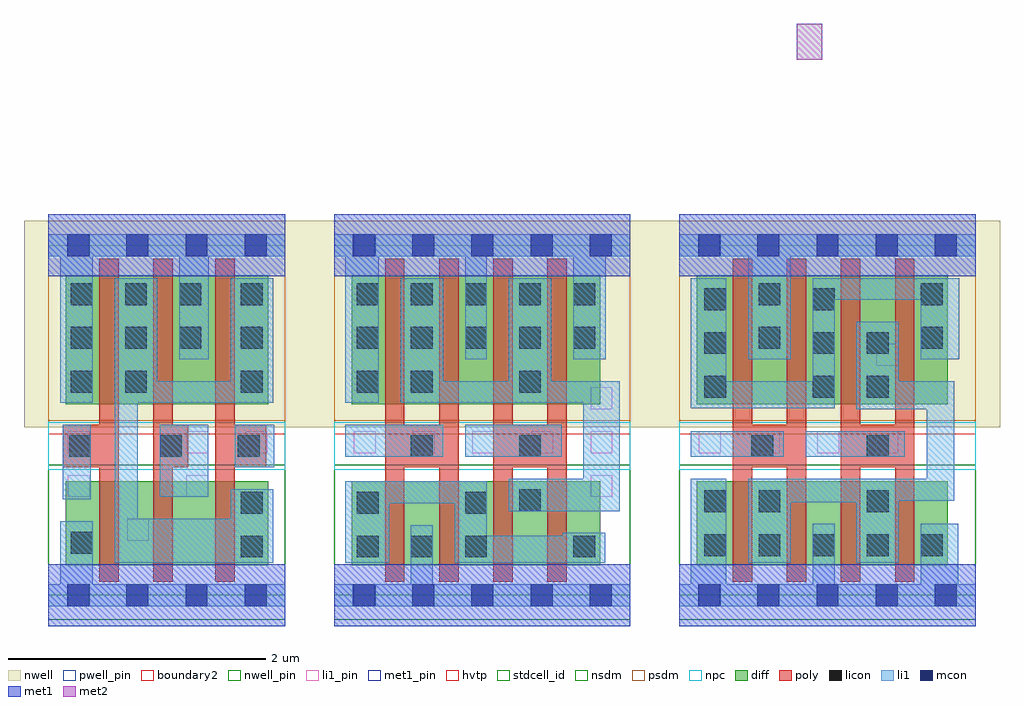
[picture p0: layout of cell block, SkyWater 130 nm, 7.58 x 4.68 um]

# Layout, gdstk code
import gdstk
lib = gdstk.Library(unit=1e-6, precision=1e-09)
def R(c, l, rs):  # rectangles x0, y0, x1, y1
    for r in rs: c.add(gdstk.rectangle(r[:2], r[2:], *l))
def A(c, l, x, y, w, h, nx, ny, dx, dy):  # array of equal rectangles
    R(c, l, [(x+i*dx, y+j*dy, x+i*dx+w, y+j*dy+h) for i in range(nx) for j in range(ny)])
def P(c, l, *ps):  # polygons
    for p in ps: c.add(gdstk.Polygon(p, *l))
nwell_pin = (64, 16)
nwell = (64, 20)
diff = (65, 20)
poly = (66, 20)
licon = (66, 44)
li1_pin = (67, 16)
li1 = (67, 20)
mcon = (67, 44)
met1_pin = (68, 16)
met1 = (68, 20)
met2 = (69, 20)
hvtp = (78, 44)
stdcell_id = (81, 4)
nsdm = (93, 44)
psdm = (94, 20)
npc = (95, 20)
pwell_pin = (122, 16)
boundary2 = (236, 0)

sky130_fd_sc_hd__nand3_1 = lib.new_cell('sky130_fd_sc_hd__nand3_1')
R(sky130_fd_sc_hd__nand3_1, nwell_pin, [(0.15,2.635,0.32,2.805)])
R(sky130_fd_sc_hd__nand3_1, nwell, [(-0.19,1.305,2.03,2.91)])
R(sky130_fd_sc_hd__nand3_1, diff, [(0.135,0.235,1.705,0.885), (0.135,1.485,1.705,2.485)])
P(sky130_fd_sc_hd__nand3_1, poly, [(1.295,0.105),(1.295,2.615),(1.445,2.615),(1.445,1.325),(1.69,1.325),(1.69,0.995),(1.445,0.995),(1.445,0.105)],
  [(0.815,0.105),(0.815,2.615),(0.965,2.615),(0.965,1.325),(1.085,1.325),(1.085,0.995),(0.965,0.995),(0.965,0.105)],
  [(0.395,0.105),(0.395,0.995),(0.11,0.995),(0.11,1.325),(0.395,1.325),(0.395,2.615),(0.545,2.615),(0.545,0.105)])
A(sky130_fd_sc_hd__nand3_1, licon, 1.495, 1.575, 0.17, 0.17, 1, 3, 0, 0.34)
A(sky130_fd_sc_hd__nand3_1, licon, 0.175, 1.915, 0.17, 0.17, 3, 2, 0.42, 0.34)
R(sky130_fd_sc_hd__nand3_1, licon, [(1.495,0.295,1.665,0.465), (0.175,0.325,0.345,0.495), (1.495,0.635,1.665,0.805), (0.16,1.075,0.33,1.245), (0.865,1.075,1.035,1.245), (1.47,1.075,1.64,1.245), (0.175,1.575,0.345,1.745), (0.595,1.575,0.765,1.745)])
R(sky130_fd_sc_hd__nand3_1, li1_pin, [(0.61,0.425,0.78,0.595), (0.15,0.765,0.32,0.935), (1.07,0.765,1.24,0.935), (0.15,1.105,0.32,1.275), (1.07,1.105,1.24,1.275), (1.53,1.105,1.7,1.275)])
R(sky130_fd_sc_hd__nand3_1, li1, [(0.11,0.745,0.33,1.325), (0.865,0.765,1.24,1.325), (1.445,0.995,1.755,1.325)])
P(sky130_fd_sc_hd__nand3_1, li1, [(0.09,1.495),(0.09,2.635),(0,2.635),(0,2.805),(1.84,2.805),(1.84,2.635),(1.245,2.635),(1.245,1.835),(1.015,1.835),(1.015,2.635),(0.345,2.635),(0.345,1.495)],
  [(0,-0.085),(0,0.085),(0.09,0.085),(0.09,0.575),(0.345,0.575),(0.345,0.085),(1.84,0.085),(1.84,-0.085)],
  [(0.515,0.255),(0.515,2.465),(0.845,2.465),(0.845,1.665),(1.415,1.665),(1.415,2.465),(1.745,2.465),(1.745,1.495),(0.695,1.495),(0.695,0.595),(1.415,0.595),(1.415,0.825),(1.745,0.825),(1.745,0.255)])
A(sky130_fd_sc_hd__nand3_1, mcon, 0.145, -0.085, 0.17, 0.17, 4, 2, 0.46, 2.72)
R(sky130_fd_sc_hd__nand3_1, met1_pin, [(0.15,-0.085,0.32,0.085), (0.15,2.635,0.32,2.805)])
R(sky130_fd_sc_hd__nand3_1, hvtp, [(0,1.25,1.84,2.72)])
R(sky130_fd_sc_hd__nand3_1, stdcell_id, [(0,0,1.84,2.72)])
R(sky130_fd_sc_hd__nand3_1, nsdm, [(0,-0.19,1.84,1.015)])
R(sky130_fd_sc_hd__nand3_1, psdm, [(0,1.355,1.84,2.91)])
R(sky130_fd_sc_hd__nand3_1, npc, [(0,0.975,1.84,1.345)])
R(sky130_fd_sc_hd__nand3_1, pwell_pin, [(0.15,-0.085,0.32,0.085)])
R(sky130_fd_sc_hd__nand3_1, boundary2, [(0,0,1.84,2.72)])
sky130_fd_sc_hd__nand3_1.add(gdstk.FlexPath([(0,2.72),(1.84,2.72)], 0.48, ends="flush", simple_path=True, layer=68, datatype=20))  # met1
sky130_fd_sc_hd__nand3_1.add(gdstk.FlexPath([(0,0),(1.84,0)], 0.48, ends="flush", simple_path=True, layer=68, datatype=20))  # met1
sky130_fd_sc_hd__nand3_1.add(gdstk.Label('Y', (0.695,0.51), layer=67, texttype=5))
sky130_fd_sc_hd__nand3_1.add(gdstk.Label('A', (1.615,1.19), layer=67, texttype=5))
sky130_fd_sc_hd__nand3_1.add(gdstk.Label('C', (0.235,1.19), layer=67, texttype=5))
sky130_fd_sc_hd__nand3_1.add(gdstk.Label('B', (1.155,1.19), layer=67, texttype=5))
sky130_fd_sc_hd__nand3_1.add(gdstk.Label('VPB', (0.235,2.72), layer=64, texttype=5))
sky130_fd_sc_hd__nand3_1.add(gdstk.Label('VNB', (0.235,0), layer=64, texttype=59))
sky130_fd_sc_hd__nand3_1.add(gdstk.Label('VGND', (0.235,0), layer=68, texttype=5))
sky130_fd_sc_hd__nand3_1.add(gdstk.Label('VPWR', (0.235,2.72), layer=68, texttype=5))
sky130_fd_sc_hd__nand3_1.add(gdstk.Label('nand3_1', (0,0), layer=83, texttype=44))

sky130_fd_sc_hd__nand2_2 = lib.new_cell('sky130_fd_sc_hd__nand2_2')
R(sky130_fd_sc_hd__nand2_2, nwell_pin, [(0.15,2.635,0.32,2.805)])
R(sky130_fd_sc_hd__nand2_2, nwell, [(-0.19,1.305,2.49,2.91)])
R(sky130_fd_sc_hd__nand2_2, diff, [(0.135,0.235,2.065,0.885), (0.135,1.485,2.065,2.485)])
P(sky130_fd_sc_hd__nand2_2, poly, [(1.235,0.105),(1.235,2.615),(1.385,2.615),(1.385,1.325),(1.655,1.325),(1.655,2.615),(1.805,2.615),(1.805,0.105),(1.655,0.105),(1.655,0.995),(1.385,0.995),(1.385,0.105)],
  [(0.395,0.105),(0.395,2.615),(0.545,2.615),(0.545,1.325),(0.815,1.325),(0.815,2.615),(0.965,2.615),(0.965,0.105),(0.815,0.105),(0.815,0.995),(0.545,0.995),(0.545,0.105)])
A(sky130_fd_sc_hd__nand2_2, licon, 0.175, 0.295, 0.17, 0.17, 3, 1, 0.42, 0)
A(sky130_fd_sc_hd__nand2_2, licon, 0.175, 1.915, 0.17, 0.17, 5, 2, 0.42, 0.34)
R(sky130_fd_sc_hd__nand2_2, licon, [(1.855,0.295,2.025,0.465), (0.175,0.635,0.345,0.805), (1.015,0.635,1.185,0.805), (1.435,0.655,1.605,0.825), (0.595,1.075,0.765,1.245), (1.435,1.075,1.605,1.245), (0.175,1.575,0.345,1.745), (0.595,1.575,0.765,1.745), (1.435,1.575,1.605,1.745)])
A(sky130_fd_sc_hd__nand2_2, li1_pin, 0.15, 1.105, 0.17, 0.17, 5, 1, 0.46, 0)
R(sky130_fd_sc_hd__nand2_2, li1_pin, [(1.99,0.765,2.16,0.935), (1.99,1.445,2.16,1.615)])
R(sky130_fd_sc_hd__nand2_2, li1, [(0.085,1.075,0.845,1.325), (1.015,1.075,1.765,1.325)])
P(sky130_fd_sc_hd__nand2_2, li1, [(0,-0.085),(0,0.085),(0.595,0.085),(0.595,0.545),(0.765,0.545),(0.765,0.085),(2.3,0.085),(2.3,-0.085)],
  [(0.085,1.495),(0.085,2.635),(0,2.635),(0,2.805),(2.3,2.805),(2.3,2.635),(2.11,2.635),(2.11,1.835),(1.855,1.835),(1.855,2.635),(1.185,2.635),(1.185,1.835),(1.015,1.835),(1.015,2.635),(0.345,2.635),(0.345,1.495)],
  [(0.085,0.255),(0.085,0.885),(1.185,0.885),(1.185,0.465),(1.775,0.465),(1.775,0.485),(2.105,0.485),(2.105,0.255),(0.935,0.255),(0.935,0.715),(0.425,0.715),(0.425,0.255)],
  [(1.355,0.655),(1.355,0.905),(1.935,0.905),(1.935,1.495),(0.515,1.495),(0.515,2.465),(0.845,2.465),(0.845,1.665),(1.355,1.665),(1.355,2.465),(1.685,2.465),(1.685,1.665),(2.215,1.665),(2.215,0.655)])
A(sky130_fd_sc_hd__nand2_2, mcon, 0.145, -0.085, 0.17, 0.17, 5, 2, 0.46, 2.72)
R(sky130_fd_sc_hd__nand2_2, met1_pin, [(0.15,-0.085,0.32,0.085), (0.15,2.635,0.32,2.805)])
R(sky130_fd_sc_hd__nand2_2, hvtp, [(0,1.25,2.3,2.72)])
R(sky130_fd_sc_hd__nand2_2, stdcell_id, [(0,0,2.3,2.72)])
R(sky130_fd_sc_hd__nand2_2, nsdm, [(0,-0.19,2.3,1.015)])
R(sky130_fd_sc_hd__nand2_2, psdm, [(0,1.355,2.3,2.91)])
R(sky130_fd_sc_hd__nand2_2, npc, [(0,0.975,2.3,1.345)])
R(sky130_fd_sc_hd__nand2_2, pwell_pin, [(0.15,-0.085,0.32,0.085)])
R(sky130_fd_sc_hd__nand2_2, boundary2, [(0,0,2.3,2.72)])
sky130_fd_sc_hd__nand2_2.add(gdstk.FlexPath([(0,2.72),(2.3,2.72)], 0.48, ends="flush", simple_path=True, layer=68, datatype=20))  # met1
sky130_fd_sc_hd__nand2_2.add(gdstk.FlexPath([(0,0),(2.3,0)], 0.48, ends="flush", simple_path=True, layer=68, datatype=20))  # met1
sky130_fd_sc_hd__nand2_2.add(gdstk.Label('Y', (2.075,0.85), layer=67, texttype=5))
sky130_fd_sc_hd__nand2_2.add(gdstk.Label('Y', (2.075,1.19), layer=67, texttype=5))
sky130_fd_sc_hd__nand2_2.add(gdstk.Label('Y', (2.075,1.53), layer=67, texttype=5))
sky130_fd_sc_hd__nand2_2.add(gdstk.Label('A', (1.615,1.19), layer=67, texttype=5))
sky130_fd_sc_hd__nand2_2.add(gdstk.Label('B', (0.695,1.19), layer=67, texttype=5))
sky130_fd_sc_hd__nand2_2.add(gdstk.Label('VPB', (0.23,2.72), layer=64, texttype=5))
sky130_fd_sc_hd__nand2_2.add(gdstk.Label('VNB', (0.23,0), layer=64, texttype=59))
sky130_fd_sc_hd__nand2_2.add(gdstk.Label('VGND', (0.23,0), layer=68, texttype=5))
sky130_fd_sc_hd__nand2_2.add(gdstk.Label('VPWR', (0.23,2.72), layer=68, texttype=5))
sky130_fd_sc_hd__nand2_2.add(gdstk.Label('nand2_2', (0,0), layer=83, texttype=44))

sky130_fd_sc_hd__nor2_2 = lib.new_cell('sky130_fd_sc_hd__nor2_2')
R(sky130_fd_sc_hd__nor2_2, nwell_pin, [(0.15,2.635,0.32,2.805)])
R(sky130_fd_sc_hd__nor2_2, nwell, [(-0.19,1.305,2.49,2.91)])
R(sky130_fd_sc_hd__nor2_2, diff, [(0.135,0.235,2.085,0.885), (0.135,1.485,2.085,2.485)])
P(sky130_fd_sc_hd__nor2_2, poly, [(0.415,0.105),(0.415,2.615),(0.565,2.615),(0.565,1.325),(0.835,1.325),(0.835,2.615),(0.985,2.615),(0.985,0.105),(0.835,0.105),(0.835,0.995),(0.565,0.995),(0.565,0.105)],
  [(1.255,0.105),(1.255,2.615),(1.405,2.615),(1.405,1.325),(1.675,1.325),(1.675,2.615),(1.825,2.615),(1.825,0.105),(1.675,0.105),(1.675,0.995),(1.405,0.995),(1.405,0.105)])
A(sky130_fd_sc_hd__nor2_2, licon, 0.195, 0.305, 0.17, 0.17, 5, 1, 0.42, 0)
A(sky130_fd_sc_hd__nor2_2, licon, 0.195, 1.535, 0.17, 0.17, 1, 3, 0, 0.34)
A(sky130_fd_sc_hd__nor2_2, licon, 1.035, 1.535, 0.17, 0.17, 1, 3, 0, 0.34)
R(sky130_fd_sc_hd__nor2_2, licon, [(0.195,0.645,0.365,0.815), (0.615,0.645,0.785,0.815), (1.455,0.645,1.625,0.815), (0.56,1.075,0.73,1.245), (1.455,1.075,1.625,1.245), (1.455,1.535,1.625,1.705), (1.455,1.875,1.625,2.045), (0.615,1.915,0.785,2.085), (1.875,1.915,2.045,2.085), (0.615,2.255,0.785,2.425), (1.875,2.255,2.045,2.425)])
A(sky130_fd_sc_hd__nor2_2, li1_pin, 0.15, 1.105, 0.17, 0.17, 4, 1, 0.46, 0)
R(sky130_fd_sc_hd__nor2_2, li1_pin, [(1.53,1.785,1.7,1.955)])
R(sky130_fd_sc_hd__nor2_2, li1, [(0.09,1.075,0.81,1.275), (0.98,1.075,1.75,1.275)])
P(sky130_fd_sc_hd__nor2_2, li1, [(0,-0.085),(0,0.085),(0.09,0.085),(0.09,0.905),(0.365,0.905),(0.365,0.085),(1.035,0.085),(1.035,0.555),(1.205,0.555),(1.205,0.085),(1.875,0.085),(1.875,0.555),(2.165,0.555),(2.165,0.085),(2.3,0.085),(2.3,-0.085)],
  [(0.535,1.835),(0.535,2.635),(0,2.635),(0,2.805),(2.3,2.805),(2.3,2.635),(0.865,2.635),(0.865,1.835)],
  [(0.535,0.255),(0.535,0.905),(1.92,0.905),(1.92,1.445),(1.375,1.445),(1.375,2.125),(1.705,2.125),(1.705,1.665),(2.135,1.665),(2.135,0.735),(1.705,0.735),(1.705,0.255),(1.375,0.255),(1.375,0.725),(0.865,0.725),(0.865,0.255)],
  [(0.09,1.455),(0.09,2.465),(0.365,2.465),(0.365,1.665),(1.035,1.665),(1.035,2.465),(2.175,2.465),(2.175,1.835),(1.875,1.835),(1.875,2.295),(1.205,2.295),(1.205,1.455)])
A(sky130_fd_sc_hd__nor2_2, mcon, 0.145, -0.085, 0.17, 0.17, 5, 2, 0.46, 2.72)
R(sky130_fd_sc_hd__nor2_2, met1_pin, [(0.15,-0.085,0.32,0.085), (0.15,2.635,0.32,2.805)])
R(sky130_fd_sc_hd__nor2_2, hvtp, [(0,1.25,2.3,2.72)])
R(sky130_fd_sc_hd__nor2_2, stdcell_id, [(0,0,2.3,2.72)])
R(sky130_fd_sc_hd__nor2_2, nsdm, [(0,-0.19,2.3,1.015)])
R(sky130_fd_sc_hd__nor2_2, psdm, [(0,1.355,2.3,2.91)])
R(sky130_fd_sc_hd__nor2_2, npc, [(0,0.975,2.3,1.345)])
R(sky130_fd_sc_hd__nor2_2, pwell_pin, [(0.15,-0.085,0.32,0.085)])
R(sky130_fd_sc_hd__nor2_2, boundary2, [(0,0,2.3,2.72)])
sky130_fd_sc_hd__nor2_2.add(gdstk.FlexPath([(0,2.72),(2.3,2.72)], 0.48, ends="flush", simple_path=True, layer=68, datatype=20))  # met1
sky130_fd_sc_hd__nor2_2.add(gdstk.FlexPath([(0,0),(2.3,0)], 0.48, ends="flush", simple_path=True, layer=68, datatype=20))  # met1
sky130_fd_sc_hd__nor2_2.add(gdstk.Label('B', (1.155,1.19), layer=67, texttype=5))
sky130_fd_sc_hd__nor2_2.add(gdstk.Label('Y', (1.615,1.87), layer=67, texttype=5))
sky130_fd_sc_hd__nor2_2.add(gdstk.Label('A', (0.235,1.19), layer=67, texttype=5))
sky130_fd_sc_hd__nor2_2.add(gdstk.Label('VPB', (0.235,2.72), layer=64, texttype=5))
sky130_fd_sc_hd__nor2_2.add(gdstk.Label('VNB', (0.235,0), layer=64, texttype=59))
sky130_fd_sc_hd__nor2_2.add(gdstk.Label('VGND', (0.235,0), layer=68, texttype=5))
sky130_fd_sc_hd__nor2_2.add(gdstk.Label('VPWR', (0.235,2.72), layer=68, texttype=5))
sky130_fd_sc_hd__nor2_2.add(gdstk.Label('nor2_2', (0,0), layer=83, texttype=44))

block = lib.new_cell('block')
R(block, met2, [(5.81,4.16,6.01,4.44)])
block.add(gdstk.Reference(sky130_fd_sc_hd__nand3_1, (0,0)))
block.add(gdstk.Reference(sky130_fd_sc_hd__nand2_2, (2.22,0)))
block.add(gdstk.Reference(sky130_fd_sc_hd__nor2_2, (4.9,0)))

lib.write_gds('block.gds')
